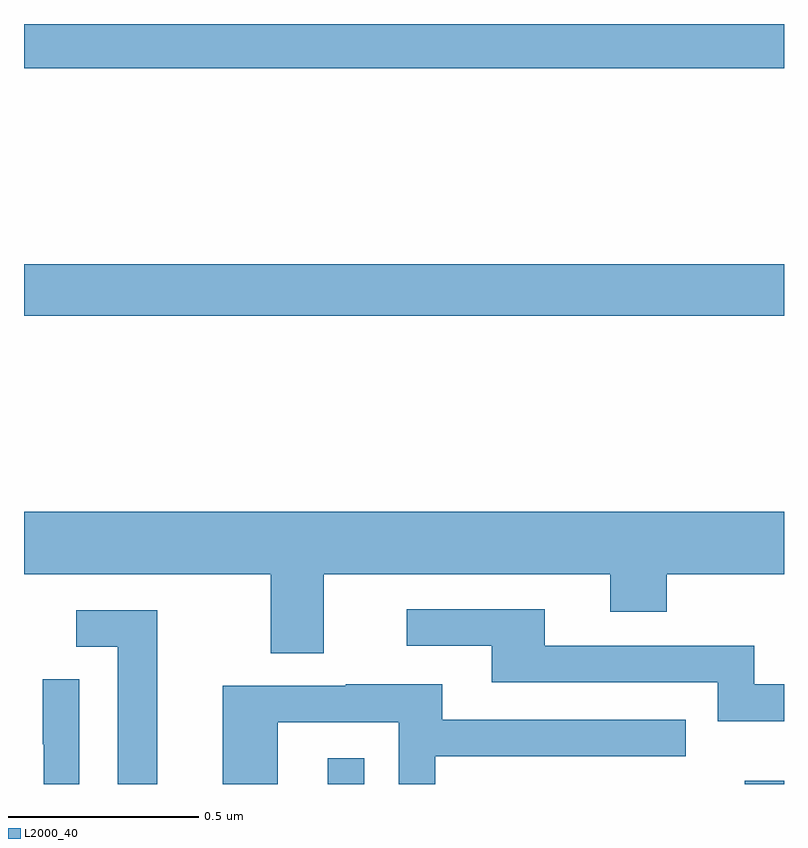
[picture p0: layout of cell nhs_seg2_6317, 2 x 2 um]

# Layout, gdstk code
import gdstk
lib = gdstk.Library(unit=1e-6, precision=1e-09)
def R(c, l, rs):  # rectangles x0, y0, x1, y1
    for r in rs: c.add(gdstk.rectangle(r[:2], r[2:], *l))
def P(c, l, *ps):  # polygons
    for p in ps: c.add(gdstk.Polygon(p, *l))
L2000_40 = (2000, 40)

nhs_seg2_6317 = lib.new_cell('nhs_seg2_6317')
R(nhs_seg2_6317, L2000_40, [(190.799,597.8,190.896,597.868), (191.897,597.8,192,597.808), (190,599.032,192,599.168), (190,599.684,192,599.8)])
P(nhs_seg2_6317, L2000_40, [(190.789,598.352),(191.543,598.352),(191.543,598.253),(191.691,598.253),(191.691,598.352),(192,598.352),(192,598.516),(190,598.516),(190,598.352),(190.649,598.352),(190.649,598.144),(190.789,598.144)],
  [(192,598.062),(191.922,598.062),(191.922,598.164),(191.371,598.164),(191.371,598.26),(191.007,598.26),(191.007,598.164),(191.231,598.164),(191.231,598.068),(191.826,598.068),(191.826,597.965),(192,597.965)],
  [(190.351,598.257),(190.137,598.257),(190.137,598.161),(190.247,598.161),(190.247,597.8),(190.351,597.8)],
  [(190.146,598.076),(190.049,598.076),(190.049,597.904),(190.052,597.904),(190.052,597.8),(190.146,597.8)],
  [(190.668,597.963),(190.986,597.963),(190.986,597.8),(191.082,597.8),(191.082,597.873),(191.741,597.873),(191.741,597.969),(191.101,597.969),(191.101,598.063),(190.847,598.063),(190.847,598.059),(190.523,598.059),(190.523,597.8),(190.668,597.8)])

lib.write_gds('nhs_seg2_6317.gds')
